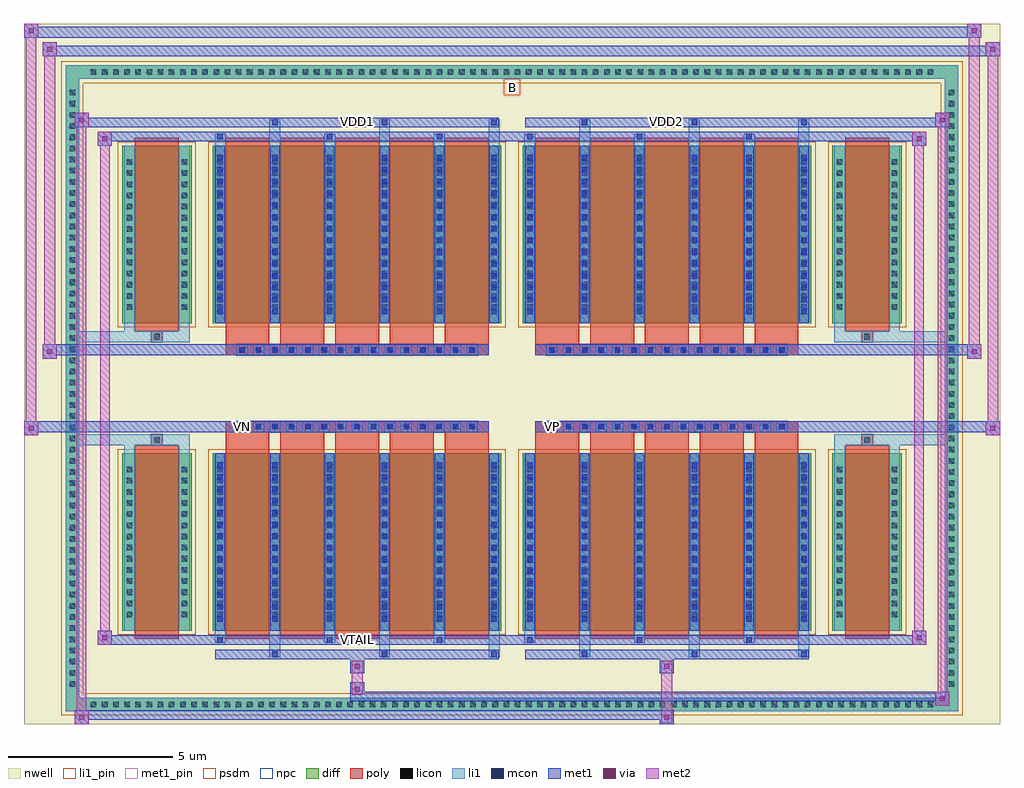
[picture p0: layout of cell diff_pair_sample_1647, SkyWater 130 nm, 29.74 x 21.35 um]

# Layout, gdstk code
import gdstk
lib = gdstk.Library(unit=1e-6, precision=5e-09)
def R(c, l, rs):  # rectangles x0, y0, x1, y1
    for r in rs: c.add(gdstk.rectangle(r[:2], r[2:], *l))
def A(c, l, x, y, w, h, nx, ny, dx, dy):  # array of equal rectangles
    R(c, l, [(x+i*dx, y+j*dy, x+i*dx+w, y+j*dy+h) for i in range(nx) for j in range(ny)])
def P(c, l, *ps):  # polygons
    for p in ps: c.add(gdstk.Polygon(p, *l))
nwell = (64, 20)
diff = (65, 20)
poly = (66, 20)
licon = (66, 44)
li1_pin = (67, 16)
li1 = (67, 20)
mcon = (67, 44)
met1_pin = (68, 16)
met1 = (68, 20)
via = (68, 44)
met2 = (69, 20)
psdm = (94, 20)
npc = (95, 20)

diff_pair_sample_1647 = lib.new_cell('diff_pair_sample_1647')
R(diff_pair_sample_1647, nwell, [(-14.87,-10.24,14.87,11.11), (-12.19,-8.43,-0.01,-0.805), (0.01,-8.43,12.19,-0.805), (-12.19,0.805,-0.01,8.43), (0.01,0.805,12.19,8.43)])
A(diff_pair_sample_1647, diff, -12.955, -9.84, 0.41, 0.41, 76, 2, 0.34, 19.27)
A(diff_pair_sample_1647, diff, -13.6, -9.215, 0.41, 0.41, 1, 54, 0, 0.34)
A(diff_pair_sample_1647, diff, 13.19, -9.215, 0.41, 0.41, 1, 54, 0, 0.34)
R(diff_pair_sample_1647, diff, [(-12.955,-9.84,12.955,-9.43), (-13.6,-9.215,-13.19,9.215), (13.19,-9.215,13.6,9.215), (-11.88,-7.385,-9.76,-1.985), (-9.12,-7.385,-0.32,-1.985), (0.32,-7.385,9.12,-1.985), (9.76,-7.385,11.88,-1.985), (-11.88,1.985,-9.76,7.385), (-9.12,1.985,-0.32,7.385), (0.32,1.985,9.12,7.385), (9.76,1.985,11.88,7.385), (-12.955,9.43,12.955,9.84)])
P(diff_pair_sample_1647, diff, [(13.6,9.84),(-13.6,9.84),(-13.6,-9.43),(-13.19,-9.43),(-13.19,9.43),(13.19,9.43),(13.19,-9.43),(-13.19,-9.43),(-13.6,-9.43),(-13.6,-9.84),(13.6,-9.84)])
A(diff_pair_sample_1647, poly, -8.73, -7.635, 1.34, 5.9, 5, 2, 1.67, 9.37)
A(diff_pair_sample_1647, poly, 0.71, -7.635, 1.34, 5.9, 5, 2, 1.67, 9.37)
A(diff_pair_sample_1647, poly, -8.73, -1.735, 1.34, 0.4, 5, 2, 1.67, 3.07)
A(diff_pair_sample_1647, poly, 0.71, -1.735, 1.34, 0.4, 5, 2, 1.67, 3.07)
A(diff_pair_sample_1647, poly, -8.385, -1.335, 0.33, 0.33, 15, 2, 0.5, 2.34)
A(diff_pair_sample_1647, poly, 1.055, -1.335, 0.33, 0.33, 15, 2, 0.5, 2.34)
R(diff_pair_sample_1647, poly, [(-11.49,-7.635,-10.15,-1.735), (10.15,-7.635,11.49,-1.735), (-10.985,-1.735,-10.655,-1.405), (-10.985,-1.735,-10.655,-1.405), (10.655,-1.735,10.985,-1.405), (10.655,-1.735,10.985,-1.405), (-8.73,-1.335,-0.71,-1.005), (0.71,-1.335,8.73,-1.005), (-8.73,1.005,-0.71,1.335), (0.71,1.005,8.73,1.335), (-10.985,1.405,-10.655,1.735), (-10.985,1.405,-10.655,1.735), (10.655,1.405,10.985,1.735), (10.655,1.405,10.985,1.735), (-11.49,1.735,-10.15,7.635), (10.15,1.735,11.49,7.635)])
A(diff_pair_sample_1647, licon, -12.835, -9.72, 0.17, 0.17, 76, 2, 0.34, 19.27)
A(diff_pair_sample_1647, licon, -13.48, -9.095, 0.17, 0.17, 1, 54, 0, 0.34)
A(diff_pair_sample_1647, licon, 13.31, -9.095, 0.17, 0.17, 1, 54, 0, 0.34)
A(diff_pair_sample_1647, licon, -11.74, -6.98, 0.17, 0.17, 1, 14, 0, 0.34)
A(diff_pair_sample_1647, licon, -10.07, -6.98, 0.17, 0.17, 1, 14, 0, 0.34)
A(diff_pair_sample_1647, licon, -8.98, -6.98, 0.17, 0.17, 6, 14, 1.67, 0.34)
A(diff_pair_sample_1647, licon, 0.46, -6.98, 0.17, 0.17, 6, 14, 1.67, 0.34)
A(diff_pair_sample_1647, licon, 9.9, -6.98, 0.17, 0.17, 1, 14, 0, 0.34)
A(diff_pair_sample_1647, licon, 11.57, -6.98, 0.17, 0.17, 1, 14, 0, 0.34)
A(diff_pair_sample_1647, licon, -8.305, -1.255, 0.17, 0.17, 15, 2, 0.5, 2.34)
A(diff_pair_sample_1647, licon, 1.135, -1.255, 0.17, 0.17, 15, 2, 0.5, 2.34)
A(diff_pair_sample_1647, licon, -11.74, 2.39, 0.17, 0.17, 1, 14, 0, 0.34)
A(diff_pair_sample_1647, licon, -10.07, 2.39, 0.17, 0.17, 1, 14, 0, 0.34)
A(diff_pair_sample_1647, licon, -8.98, 2.39, 0.17, 0.17, 6, 14, 1.67, 0.34)
A(diff_pair_sample_1647, licon, 0.46, 2.39, 0.17, 0.17, 6, 14, 1.67, 0.34)
A(diff_pair_sample_1647, licon, 9.9, 2.39, 0.17, 0.17, 1, 14, 0, 0.34)
A(diff_pair_sample_1647, licon, 11.57, 2.39, 0.17, 0.17, 1, 14, 0, 0.34)
R(diff_pair_sample_1647, licon, [(-10.905,-1.655,-10.735,-1.485), (10.735,-1.655,10.905,-1.485), (-10.905,1.485,-10.735,1.655), (10.735,1.485,10.905,1.655)])
R(diff_pair_sample_1647, li1_pin, [(-0.25,8.93,0.25,9.43)])
A(diff_pair_sample_1647, li1, -12.915, -9.8, 0.33, 0.33, 76, 2, 0.34, 19.27)
A(diff_pair_sample_1647, li1, -13.56, -9.175, 0.33, 0.33, 1, 54, 0, 0.34)
A(diff_pair_sample_1647, li1, 13.23, -9.175, 0.33, 0.33, 1, 54, 0, 0.34)
A(diff_pair_sample_1647, li1, -7.39, -8.19, 0.33, 0.805, 3, 2, 3.34, 15.575)
A(diff_pair_sample_1647, li1, -7.31, -8.19, 0.17, 0.17, 3, 2, 3.34, 16.21)
A(diff_pair_sample_1647, li1, 2.05, -8.19, 0.33, 0.805, 3, 2, 3.34, 15.575)
A(diff_pair_sample_1647, li1, 2.13, -8.19, 0.17, 0.17, 3, 2, 3.34, 16.21)
A(diff_pair_sample_1647, li1, -9.06, -7.76, 0.33, 0.375, 3, 2, 3.34, 15.145)
A(diff_pair_sample_1647, li1, -8.98, -7.76, 0.17, 0.17, 3, 2, 3.34, 15.35)
A(diff_pair_sample_1647, li1, 0.38, -7.76, 0.33, 0.375, 3, 2, 3.34, 15.145)
A(diff_pair_sample_1647, li1, 0.46, -7.76, 0.17, 0.17, 3, 2, 3.34, 15.35)
A(diff_pair_sample_1647, li1, -9.06, -7.385, 0.33, 5.4, 6, 2, 1.67, 9.37)
A(diff_pair_sample_1647, li1, 0.38, -7.385, 0.33, 5.4, 6, 2, 1.67, 9.37)
A(diff_pair_sample_1647, li1, -8.98, -7.11, 0.17, 0.17, 6, 14, 1.67, 0.36)
A(diff_pair_sample_1647, li1, -8.98, -7.11, 0.17, 4.85, 6, 2, 1.67, 9.37)
A(diff_pair_sample_1647, li1, 0.46, -7.11, 0.17, 0.17, 6, 14, 1.67, 0.36)
A(diff_pair_sample_1647, li1, 0.46, -7.11, 0.17, 4.85, 6, 2, 1.67, 9.37)
A(diff_pair_sample_1647, li1, -11.82, -7.06, 0.33, 0.33, 1, 14, 0, 0.34)
A(diff_pair_sample_1647, li1, -10.15, -7.06, 0.33, 0.33, 1, 14, 0, 0.34)
A(diff_pair_sample_1647, li1, -9.06, -7.06, 0.33, 0.33, 6, 14, 1.67, 0.34)
A(diff_pair_sample_1647, li1, 0.38, -7.06, 0.33, 0.33, 6, 14, 1.67, 0.34)
A(diff_pair_sample_1647, li1, 9.82, -7.06, 0.33, 0.33, 1, 14, 0, 0.34)
A(diff_pair_sample_1647, li1, 11.49, -7.06, 0.33, 0.33, 1, 14, 0, 0.34)
A(diff_pair_sample_1647, li1, -8.385, -1.335, 0.33, 0.33, 15, 2, 0.5, 2.34)
A(diff_pair_sample_1647, li1, 1.055, -1.335, 0.33, 0.33, 15, 2, 0.5, 2.34)
A(diff_pair_sample_1647, li1, -8.98, 2.26, 0.17, 0.17, 6, 14, 1.67, 0.36)
A(diff_pair_sample_1647, li1, 0.46, 2.26, 0.17, 0.17, 6, 14, 1.67, 0.36)
A(diff_pair_sample_1647, li1, -11.82, 2.31, 0.33, 0.33, 1, 14, 0, 0.34)
A(diff_pair_sample_1647, li1, -10.15, 2.31, 0.33, 0.33, 1, 14, 0, 0.34)
A(diff_pair_sample_1647, li1, -9.06, 2.31, 0.33, 0.33, 6, 14, 1.67, 0.34)
A(diff_pair_sample_1647, li1, 0.38, 2.31, 0.33, 0.33, 6, 14, 1.67, 0.34)
A(diff_pair_sample_1647, li1, 9.82, 2.31, 0.33, 0.33, 1, 14, 0, 0.34)
A(diff_pair_sample_1647, li1, 11.49, 2.31, 0.33, 0.33, 1, 14, 0, 0.34)
R(diff_pair_sample_1647, li1, [(-13.6,-9.84,-13.19,-9.43), (-13.6,-9.84,-13.19,-9.43), (-13.19,-9.84,13.19,-9.43), (13.19,-9.84,13.6,-9.43), (13.19,-9.84,13.6,-9.43), (-13.6,-9.43,-13.19,9.43), (13.19,-9.43,13.6,9.43), (-11.82,-7.385,-11.49,-1.985), (-10.15,-7.385,-9.82,-1.985), (9.82,-7.385,10.15,-1.985), (11.49,-7.385,11.82,-1.985), (-11.82,-1.985,-11.49,-1.405), (-10.15,-1.985,-9.82,-1.405), (9.82,-1.985,10.15,-1.405), (11.49,-1.985,11.82,-1.405), (-13.6,-1.735,-10.985,-1.405), (-11.82,-1.735,-10.985,-1.405), (-10.985,-1.735,-10.655,-1.405), (-10.655,-1.735,-9.82,-1.405), (9.82,-1.735,10.655,-1.405), (10.655,-1.735,10.985,-1.405), (10.655,-1.735,13.6,-1.405), (10.985,-1.735,11.82,-1.405), (-13.6,1.405,-10.985,1.735), (-11.82,1.405,-10.985,1.735), (-11.82,1.405,-11.49,1.985), (-10.985,1.405,-10.655,1.735), (-10.655,1.405,-9.82,1.735), (-10.15,1.405,-9.82,1.985), (9.82,1.405,10.655,1.735), (9.82,1.405,10.15,1.985), (10.655,1.405,10.985,1.735), (10.655,1.405,13.6,1.735), (10.985,1.405,11.82,1.735), (11.49,1.405,11.82,1.985), (-11.82,1.985,-11.49,7.385), (-10.15,1.985,-9.82,7.385), (9.82,1.985,10.15,7.385), (11.49,1.985,11.82,7.385), (-13.6,9.43,-13.19,9.84), (-13.6,9.43,-13.19,9.84), (-13.19,9.43,13.19,9.84), (13.19,9.43,13.6,9.84), (13.19,9.43,13.6,9.84)])
A(diff_pair_sample_1647, mcon, -7.31, -8.19, 0.17, 0.17, 3, 2, 3.34, 16.21)
A(diff_pair_sample_1647, mcon, 2.13, -8.19, 0.17, 0.17, 3, 2, 3.34, 16.21)
A(diff_pair_sample_1647, mcon, -8.98, -7.76, 0.17, 0.17, 3, 2, 3.34, 15.35)
A(diff_pair_sample_1647, mcon, 0.46, -7.76, 0.17, 0.17, 3, 2, 3.34, 15.35)
A(diff_pair_sample_1647, mcon, -8.98, -7.11, 0.17, 0.17, 6, 14, 1.67, 0.36)
A(diff_pair_sample_1647, mcon, 0.46, -7.11, 0.17, 0.17, 6, 14, 1.67, 0.36)
A(diff_pair_sample_1647, mcon, -8.305, -1.255, 0.17, 0.17, 15, 2, 0.5, 2.34)
A(diff_pair_sample_1647, mcon, 1.135, -1.255, 0.17, 0.17, 15, 2, 0.5, 2.34)
A(diff_pair_sample_1647, mcon, -8.98, 2.26, 0.17, 0.17, 6, 14, 1.67, 0.36)
A(diff_pair_sample_1647, mcon, 0.46, 2.26, 0.17, 0.17, 6, 14, 1.67, 0.36)
R(diff_pair_sample_1647, met1_pin, [(-4.855,-7.8,-4.585,-7.53), (-8.355,-1.295,-8.085,-1.025), (1.085,-1.295,1.355,-1.025), (-4.855,7.98,-4.585,8.25), (4.585,7.98,4.855,8.25)])
A(diff_pair_sample_1647, met1, -7.37, -8.25, 0.29, 0.29, 3, 2, 3.34, 16.21)
A(diff_pair_sample_1647, met1, 2.07, -8.25, 0.29, 0.29, 3, 2, 3.34, 16.21)
A(diff_pair_sample_1647, met1, -9.04, -7.82, 0.29, 0.29, 3, 2, 3.34, 15.35)
A(diff_pair_sample_1647, met1, 0.4, -7.82, 0.29, 0.29, 3, 2, 3.34, 15.35)
A(diff_pair_sample_1647, met1, -9.04, -7.385, 0.29, 5.4, 6, 2, 1.67, 9.37)
A(diff_pair_sample_1647, met1, 0.4, -7.385, 0.29, 5.4, 6, 2, 1.67, 9.37)
A(diff_pair_sample_1647, met1, -9.04, -7.17, 0.29, 0.29, 6, 14, 1.67, 0.36)
A(diff_pair_sample_1647, met1, 0.4, -7.17, 0.29, 0.29, 6, 14, 1.67, 0.36)
A(diff_pair_sample_1647, met1, -8.365, -1.315, 0.29, 0.29, 15, 2, 0.5, 2.34)
A(diff_pair_sample_1647, met1, 1.075, -1.315, 0.29, 0.29, 15, 2, 0.5, 2.34)
A(diff_pair_sample_1647, met1, -9.04, 2.2, 0.29, 0.29, 6, 14, 1.67, 0.36)
A(diff_pair_sample_1647, met1, 0.4, 2.2, 0.29, 0.29, 6, 14, 1.67, 0.36)
R(diff_pair_sample_1647, met1, [(-13.33,-10.24,-12.9,-9.81), (4.505,-10.24,4.935,-9.81), (-13.33,-10.1,4.935,-9.81), (12.9,-9.67,13.33,-9.24), (-4.935,-9.53,13.33,-9.24), (-4.935,-9.39,-4.505,-8.96), (-4.935,-8.68,-4.505,-8.25), (4.505,-8.68,4.935,-8.25), (-9.04,-8.25,-0.4,-7.96), (0.4,-8.25,9.04,-7.96), (-12.62,-7.82,-12.19,-7.39), (-12.62,-7.82,-9.04,-7.53), (-9.04,-7.82,-0.4,-7.53), (-0.4,-7.82,0.4,-7.53), (0.4,-7.82,9.04,-7.53), (9.04,-7.82,12.62,-7.53), (12.19,-7.82,12.62,-7.39), (-14.87,-1.435,-14.44,-1.005), (14.44,-1.435,14.87,-1.005), (-14.87,-1.335,-0.71,-1.005), (-8.73,-1.335,-0.71,-1.005), (0.71,-1.335,8.73,-1.005), (0.71,-1.335,14.87,-1.005), (-14.3,0.905,-13.87,1.335), (13.87,0.905,14.3,1.335), (-14.3,1.005,-8.73,1.335), (-8.73,1.005,-0.71,1.335), (0.71,1.005,8.73,1.335), (8.73,1.005,14.3,1.335), (-12.62,7.39,-12.19,7.82), (12.19,7.39,12.62,7.82), (-12.62,7.53,-9.04,7.82), (-9.04,7.53,-0.4,7.82), (-0.4,7.53,0.4,7.82), (0.4,7.53,9.04,7.82), (9.04,7.53,12.62,7.82), (-13.33,7.96,-12.9,8.39), (-13.33,7.96,-9.04,8.25), (-9.04,7.96,-0.4,8.25), (0.4,7.96,9.04,8.25), (9.04,7.96,13.33,8.25), (12.9,7.96,13.33,8.39), (-14.3,10.11,-13.87,10.54), (-14.3,10.11,-12.19,10.44), (-12.19,10.11,12.19,10.44), (12.19,10.11,14.87,10.44), (14.44,10.11,14.87,10.54), (-14.87,10.68,-14.44,11.11), (-14.87,10.68,-12.19,11.01), (-12.19,10.68,12.19,11.01), (12.19,10.68,14.3,11.01), (13.87,10.68,14.3,11.11)])
R(diff_pair_sample_1647, via, [(-13.19,-10.1,-13.04,-9.95), (4.645,-10.1,4.795,-9.95), (13.04,-9.53,13.19,-9.38), (-4.795,-9.25,-4.645,-9.1), (-4.795,-8.54,-4.645,-8.39), (4.645,-8.54,4.795,-8.39), (-12.48,-7.68,-12.33,-7.53), (12.33,-7.68,12.48,-7.53), (-14.73,-1.295,-14.58,-1.145), (14.58,-1.295,14.73,-1.145), (-14.16,1.045,-14.01,1.195), (14.01,1.045,14.16,1.195), (-12.48,7.53,-12.33,7.68), (12.33,7.53,12.48,7.68), (-13.19,8.1,-13.04,8.25), (13.04,8.1,13.19,8.25), (-14.16,10.25,-14.01,10.4), (14.58,10.25,14.73,10.4), (-14.73,10.82,-14.58,10.97), (14.01,10.82,14.16,10.97)])
R(diff_pair_sample_1647, met2, [(-13.33,-10.24,-12.9,-9.81), (-13.26,-10.24,-12.97,8.39), (-12.97,-10.24,-12.9,-9.81), (-13.28,-10.19,-12.95,-9.86), (4.555,-10.19,4.885,-9.86), (4.555,-9.86,4.885,-8.63), (12.9,-9.67,13.33,-9.24), (12.97,-9.67,13.26,8.39), (13.26,-9.67,13.33,-9.24), (12.95,-9.62,13.28,-9.29), (-4.885,-9.34,-4.555,-9.01), (-4.885,-9.01,-4.555,-8.63), (-4.885,-8.63,-4.555,-8.3), (4.555,-8.63,4.885,-8.3), (-12.62,-7.82,-12.19,-7.39), (-12.55,-7.82,-12.26,7.82), (-12.26,-7.82,-12.19,-7.39), (12.19,-7.82,12.62,-7.39), (12.26,-7.82,12.55,7.82), (12.55,-7.82,12.62,-7.39), (-12.57,-7.77,-12.24,-7.44), (12.24,-7.77,12.57,-7.44), (-14.87,-1.435,-14.44,-1.005), (-14.82,-1.435,-14.49,11.11), (-14.49,-1.435,-14.44,-1.005), (14.44,-1.435,14.87,-1.005), (14.49,-1.435,14.82,10.54), (14.82,-1.435,14.87,-1.005), (-14.82,-1.385,-14.49,-1.055), (14.49,-1.385,14.82,-1.055), (-14.3,0.905,-13.87,1.335), (-14.25,0.905,-13.92,10.54), (-13.92,0.905,-13.87,1.335), (13.87,0.905,14.3,1.335), (13.92,0.905,14.25,11.11), (14.25,0.905,14.3,1.335), (-14.25,0.955,-13.92,1.285), (13.92,0.955,14.25,1.285), (-12.62,7.39,-12.19,7.82), (-12.26,7.39,-12.19,7.82), (12.19,7.39,12.62,7.82), (12.55,7.39,12.62,7.82), (-12.57,7.44,-12.24,7.77), (12.24,7.44,12.57,7.77), (-13.33,7.96,-12.9,8.39), (-12.97,7.96,-12.9,8.39), (12.9,7.96,13.33,8.39), (13.26,7.96,13.33,8.39), (-13.28,8.01,-12.95,8.34), (12.95,8.01,13.28,8.34), (-14.3,10.11,-13.87,10.54), (-13.92,10.11,-13.87,10.54), (14.44,10.11,14.87,10.54), (14.82,10.11,14.87,10.54), (-14.25,10.16,-13.92,10.49), (14.49,10.16,14.82,10.49), (-14.87,10.68,-14.44,11.11), (-14.49,10.68,-14.44,11.11), (13.87,10.68,14.3,11.11), (14.25,10.68,14.3,11.11), (-14.82,10.73,-14.49,11.06), (13.92,10.73,14.25,11.06)])
R(diff_pair_sample_1647, psdm, [(-12.01,-7.515,-9.63,-1.855), (-9.25,-7.515,-0.19,-1.855), (0.19,-7.515,9.25,-1.855), (9.63,-7.515,12.01,-1.855), (-12.01,1.855,-9.63,7.515), (-9.25,1.855,-0.19,7.515), (0.19,1.855,9.25,7.515), (9.63,1.855,12.01,7.515)])
P(diff_pair_sample_1647, psdm, [(13.73,9.97),(-13.73,9.97),(-13.73,-9.3),(-13.06,-9.3),(-13.06,9.3),(13.06,9.3),(13.06,-9.3),(-13.06,-9.3),(-13.73,-9.3),(-13.73,-9.97),(13.73,-9.97)])
A(diff_pair_sample_1647, npc, -8.405, -1.355, 0.37, 0.37, 15, 2, 0.5, 2.34)
A(diff_pair_sample_1647, npc, 1.035, -1.355, 0.37, 0.37, 15, 2, 0.5, 2.34)
R(diff_pair_sample_1647, npc, [(-11.005,-1.755,-10.635,-1.385), (10.635,-1.755,11.005,-1.385), (-8.405,-1.355,-7.535,-0.985), (-8.405,-1.355,-7.535,-0.985), (-7.905,-1.355,-7.035,-0.985), (-7.905,-1.355,-7.035,-0.985), (-7.405,-1.355,-6.535,-0.985), (-7.405,-1.355,-6.535,-0.985), (-6.905,-1.355,-6.035,-0.985), (-6.905,-1.355,-6.035,-0.985), (-6.405,-1.355,-5.535,-0.985), (-6.405,-1.355,-5.535,-0.985), (-5.905,-1.355,-5.035,-0.985), (-5.905,-1.355,-5.035,-0.985), (-5.405,-1.355,-4.535,-0.985), (-5.405,-1.355,-4.535,-0.985), (-4.905,-1.355,-4.035,-0.985), (-4.905,-1.355,-4.035,-0.985), (-4.405,-1.355,-3.535,-0.985), (-4.405,-1.355,-3.535,-0.985), (-3.905,-1.355,-3.035,-0.985), (-3.905,-1.355,-3.035,-0.985), (-3.405,-1.355,-2.535,-0.985), (-3.405,-1.355,-2.535,-0.985), (-2.905,-1.355,-2.035,-0.985), (-2.905,-1.355,-2.035,-0.985), (-2.405,-1.355,-1.535,-0.985), (-2.405,-1.355,-1.535,-0.985), (-1.905,-1.355,-1.035,-0.985), (-1.905,-1.355,-1.035,-0.985), (1.035,-1.355,1.905,-0.985), (1.035,-1.355,1.905,-0.985), (1.535,-1.355,2.405,-0.985), (1.535,-1.355,2.405,-0.985), (2.035,-1.355,2.905,-0.985), (2.035,-1.355,2.905,-0.985), (2.535,-1.355,3.405,-0.985), (2.535,-1.355,3.405,-0.985), (3.035,-1.355,3.905,-0.985), (3.035,-1.355,3.905,-0.985), (3.535,-1.355,4.405,-0.985), (3.535,-1.355,4.405,-0.985), (4.035,-1.355,4.905,-0.985), (4.035,-1.355,4.905,-0.985), (4.535,-1.355,5.405,-0.985), (4.535,-1.355,5.405,-0.985), (5.035,-1.355,5.905,-0.985), (5.035,-1.355,5.905,-0.985), (5.535,-1.355,6.405,-0.985), (5.535,-1.355,6.405,-0.985), (6.035,-1.355,6.905,-0.985), (6.035,-1.355,6.905,-0.985), (6.535,-1.355,7.405,-0.985), (6.535,-1.355,7.405,-0.985), (7.035,-1.355,7.905,-0.985), (7.035,-1.355,7.905,-0.985), (7.535,-1.355,8.405,-0.985), (7.535,-1.355,8.405,-0.985), (-8.405,0.985,-7.535,1.355), (-8.405,0.985,-7.535,1.355), (-7.905,0.985,-7.035,1.355), (-7.905,0.985,-7.035,1.355), (-7.405,0.985,-6.535,1.355), (-7.405,0.985,-6.535,1.355), (-6.905,0.985,-6.035,1.355), (-6.905,0.985,-6.035,1.355), (-6.405,0.985,-5.535,1.355), (-6.405,0.985,-5.535,1.355), (-5.905,0.985,-5.035,1.355), (-5.905,0.985,-5.035,1.355), (-5.405,0.985,-4.535,1.355), (-5.405,0.985,-4.535,1.355), (-4.905,0.985,-4.035,1.355), (-4.905,0.985,-4.035,1.355), (-4.405,0.985,-3.535,1.355), (-4.405,0.985,-3.535,1.355), (-3.905,0.985,-3.035,1.355), (-3.905,0.985,-3.035,1.355), (-3.405,0.985,-2.535,1.355), (-3.405,0.985,-2.535,1.355), (-2.905,0.985,-2.035,1.355), (-2.905,0.985,-2.035,1.355), (-2.405,0.985,-1.535,1.355), (-2.405,0.985,-1.535,1.355), (-1.905,0.985,-1.035,1.355), (-1.905,0.985,-1.035,1.355), (1.035,0.985,1.905,1.355), (1.035,0.985,1.905,1.355), (1.535,0.985,2.405,1.355), (1.535,0.985,2.405,1.355), (2.035,0.985,2.905,1.355), (2.035,0.985,2.905,1.355), (2.535,0.985,3.405,1.355), (2.535,0.985,3.405,1.355), (3.035,0.985,3.905,1.355), (3.035,0.985,3.905,1.355), (3.535,0.985,4.405,1.355), (3.535,0.985,4.405,1.355), (4.035,0.985,4.905,1.355), (4.035,0.985,4.905,1.355), (4.535,0.985,5.405,1.355), (4.535,0.985,5.405,1.355), (5.035,0.985,5.905,1.355), (5.035,0.985,5.905,1.355), (5.535,0.985,6.405,1.355), (5.535,0.985,6.405,1.355), (6.035,0.985,6.905,1.355), (6.035,0.985,6.905,1.355), (6.535,0.985,7.405,1.355), (6.535,0.985,7.405,1.355), (7.035,0.985,7.905,1.355), (7.035,0.985,7.905,1.355), (7.535,0.985,8.405,1.355), (7.535,0.985,8.405,1.355), (-11.005,1.385,-10.635,1.755), (10.635,1.385,11.005,1.755)])
diff_pair_sample_1647.add(gdstk.Label('VTAIL', (-4.72,-7.665), layer=68, texttype=5))
diff_pair_sample_1647.add(gdstk.Label('VN', (-8.22,-1.16), layer=68, texttype=5))
diff_pair_sample_1647.add(gdstk.Label('VP', (1.22,-1.16), layer=68, texttype=5))
diff_pair_sample_1647.add(gdstk.Label('B', (0,9.18), layer=67, texttype=5))
diff_pair_sample_1647.add(gdstk.Label('VDD2', (4.72,8.115), layer=68, texttype=5))
diff_pair_sample_1647.add(gdstk.Label('VDD1', (-4.72,8.115), layer=68, texttype=5))

lib.write_gds('diff_pair_sample_1647.gds')
